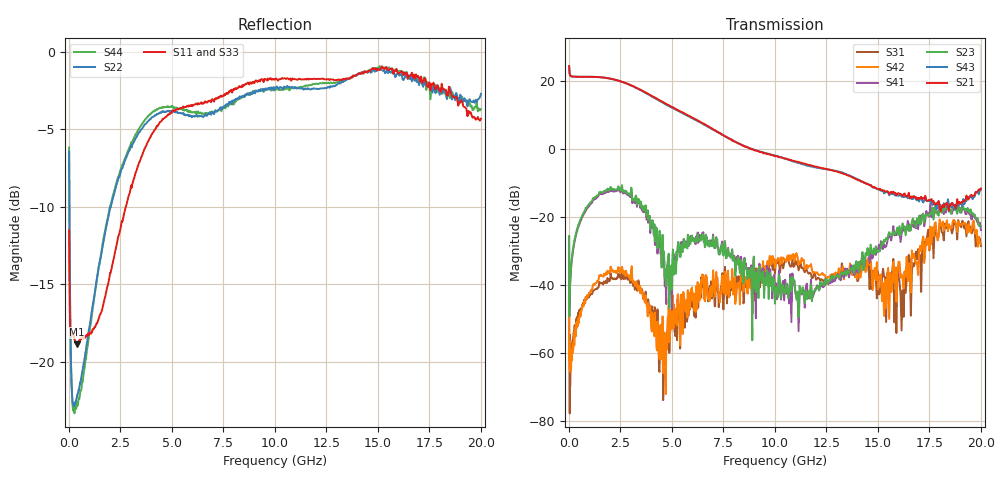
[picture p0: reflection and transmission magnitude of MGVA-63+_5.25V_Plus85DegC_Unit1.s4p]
!Mini-Circuits Laboratory
!S-Parameters
!Model: MGVA-63+
!Run / Lot / Date Code: NA / AH404P001-04 / 1348
!Fixture: NA; TB-561+
!AUTO PORT EXTENSION DONE: PORT<1>=113.62ps; PORT<2>=112.79ps; PORT<3>=112.29ps; PORT<4>=112.3ps
!Network Analyzer: PNA-X N5242A - 423 4 ports;  Serial number: 71256
!Date: 2/10/20114
!S/N: Unit# 1
!Correction: S11(Full 4 Port(1,2,3,4))
!S12(Full 4 Port(1,2,3,4))
!S13(Full 4 Port(1,2,3,4))
!S14(Full 4 Port(1,2,3,4))
!S21(Full 4 Port(1,2,3,4))
!S22(Full 4 Port(1,2,3,4))
!S23(Full 4 Port(1,2,3,4))
!S24(Full 4 Port(1,2,3,4))
!S31(Full 4 Port(1,2,3,4))
!S32(Full 4 Port(1,2,3,4))
!S33(Full 4 Port(1,2,3,4))
!S34(Full 4 Port(1,2,3,4))
!S41(Full 4 Port(1,2,3,4))
!S42(Full 4 Port(1,2,3,4))
!S43(Full 4 Port(1,2,3,4))
!S44(Full 4 Port(1,2,3,4))
!S4P File: Measurements: <S11,S12,S13,S14>,
!<S21,S22,S23,S24>,
!<S31,S32,S33,S34>,
!<S41,S42,S43,S44>:
# Hz S  dB  R 50
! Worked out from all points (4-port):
!   660 points, 10 MHz to 20 GHz, reference 50 ohm
!   strongest paths, dB at 10 MHz, 2.65 GHz, 6.775 GHz, 11.8 GHz, 20 GHz:
!     S21: 24.4, 19.6, 6.6, -4.9, -11.6
!     S43: 24.3, 19.6, 6.4, -5.2, -12.0
!     S23: -25.6, -12.7, -28.2, -44.8, -22.8
!     S41: -25.8, -13.1, -27.1, -43.8, -23.8
!     S42: -37.9, -36.8, -44.2, -35.7, -28.1
!     S31: -36.5, -38.3, -41.2, -38.1, -28.6
!   lowest |S11| = -18.9 dB at 380 MHz (marker M1), VSWR 1.26, Z = 40.1 + j2.79 ohm
!   |S11| at or under -10 dB: start of sweep to 2.766 GHz
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1e7  -11.51 -45.7  -27.01 22.6  -36.05 -17.3  -47.31 -23.7
     24.37 169.0  -6.43 -27.7  -25.63 -3.1  -36.91 -13.5
     -36.53 83.8  -47.83 47.7  -10.78 -48.1  -27.52 18.8
     -25.79 93.1  -37.87 57.2  24.31 168.7  -6.18 -30.0
8e7  -18.09 -149.8  -24.60 5.1  -65.54 65.8  -75.24 -22.1
     21.52 170.8  -18.62 -61.8  -36.70 72.6  -63.37 103.2
     -60.78 74.9  -69.94 159.8  -18.09 -149.8  -24.56 5.1
     -37.17 74.2  -65.62 118.2  21.54 170.9  -18.69 -61.2
3.8e8  -18.87 162.5  -24.46 -1.6  -49.08 76.5  -67.55 84.4
       21.25 163.5  -22.29 -74.4  -23.91 61.6  -50.30 85.1
       -49.61 84.5  -69.05 24.3  -18.97 165.6  -24.45 -1.4
       -24.59 62.8  -51.74 93.1  21.27 163.6  -22.72 -73.1
1.9e9  -15.00 132.0  -23.42 -18.8  -37.99 43.0  -60.80 90.4
       20.82 100.4  -10.75 161.8  -12.08 -41.4  -35.56 46.8
       -38.64 50.4  -58.35 95.5  -14.73 133.1  -23.42 -19.3
       -12.61 -38.8  -36.63 52.2  20.83 100.1  -10.62 159.9
3.4e9  -7.15 103.7  -23.77 -46.6  -40.75 -5.7  -56.82 74.3
       17.58 35.8  -5.21 97.8  -14.77 -149.4  -39.68 -24.3
       -39.87 0.1  -57.21 81.2  -7.03 101.1  -23.96 -47.9
       -14.95 -147.5  -41.51 -9.1  17.54 34.9  -4.97 97.7
5.925e9  -3.50 77.3  -26.93 -76.0  -44.12 -51.8  -53.21 28.2
         9.43 -40.1  -4.18 68.6  -26.28 -115.6  -43.89 -52.5
         -42.91 -42.6  -52.76 25.4  -3.57 74.0  -27.31 -75.1
         -25.59 -111.2  -41.29 -47.9  9.23 -39.6  -3.92 73.1
2e10  -4.33 28.8  -43.64 109.3  -27.51 128.7  -21.73 -7.2
      -11.65 157.8  -2.72 49.8  -22.77 -9.2  -30.11 143.6
      -28.59 121.8  -20.76 -14.9  -4.03 38.7  -28.25 97.9
      -23.85 0.3  -28.08 143.6  -12.00 160.8  -3.71 57.5
